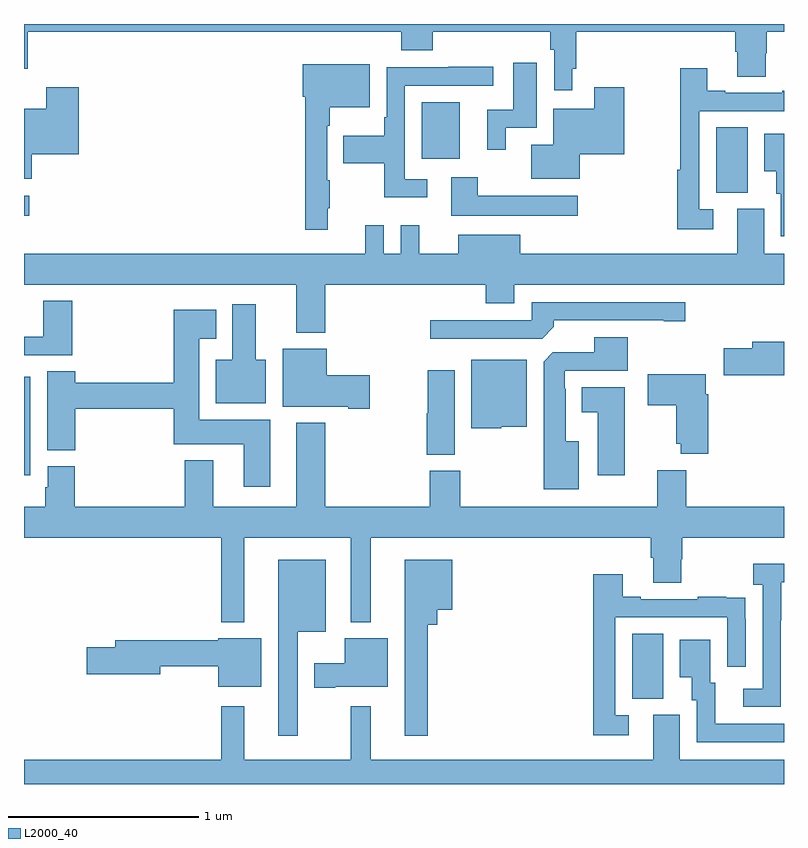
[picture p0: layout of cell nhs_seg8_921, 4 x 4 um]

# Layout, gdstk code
import gdstk
lib = gdstk.Library(unit=1e-6, precision=1e-09)
def R(c, l, rs):  # rectangles x0, y0, x1, y1
    for r in rs: c.add(gdstk.rectangle(r[:2], r[2:], *l))
def P(c, l, *ps):  # polygons
    for p in ps: c.add(gdstk.Polygon(p, *l))
L2000_40 = (2000, 40)

nhs_seg8_921 = lib.new_cell('nhs_seg8_921')
R(nhs_seg8_921, L2000_40, [(174.2,1086.349,174.364,1086.692), (171,1087.524,171.034,1088.044), (171,1088.891,171.028,1088.995), (174.644,1089.013,174.808,1089.356), (173.093,1089.191,173.293,1089.487)])
P(nhs_seg8_921, L2000_40, [(171,1089.664),(171.02,1089.664),(171.02,1089.86),(172.985,1089.86),(172.985,1089.761),(173.15,1089.761),(173.15,1089.86),(173.77,1089.86),(173.77,1089.764),(173.79,1089.764),(173.79,1089.552),(173.886,1089.552),(173.886,1089.664),(173.906,1089.664),(173.906,1089.86),(174.743,1089.86),(174.743,1089.754),(174.755,1089.754),(174.755,1089.622),(174.903,1089.622),(174.903,1089.747),(174.908,1089.747),(174.908,1089.86),(175,1089.86),(175,1089.9),(171,1089.9)],
  [(173.536,1089.354),(173.698,1089.354),(173.698,1089.697),(173.576,1089.697),(173.576,1089.45),(173.438,1089.45),(173.438,1089.237),(173.536,1089.237)],
  [(172.598,1088.929),(172.609,1088.929),(172.609,1089.077),(172.596,1089.077),(172.596,1089.365),(172.609,1089.365),(172.609,1089.461),(172.819,1089.461),(172.819,1089.688),(172.466,1089.688),(172.466,1089.518),(172.48,1089.518),(172.48,1088.817),(172.598,1088.817)],
  [(173.122,1089.084),(173.004,1089.084),(173.004,1089.576),(173.47,1089.576),(173.47,1089.674),(173.233,1089.674),(173.233,1089.672),(172.908,1089.672),(172.908,1089.409),(172.896,1089.409),(172.896,1089.313),(172.681,1089.313),(172.681,1089.166),(172.896,1089.166),(172.896,1088.987),(173.122,1088.987)],
  [(174.628,1088.925),(174.555,1088.925),(174.555,1089.441),(175,1089.441),(175,1089.55),(174.991,1089.55),(174.991,1089.537),(174.691,1089.537),(174.691,1089.55),(174.595,1089.55),(174.595,1089.667),(174.454,1089.667),(174.454,1089.132),(174.439,1089.132),(174.439,1088.82),(174.628,1088.82)],
  [(171.04,1089.215),(171.287,1089.215),(171.287,1089.568),(171.116,1089.568),(171.116,1089.454),(171,1089.454),(171,1089.086),(171.04,1089.086)],
  [(173.926,1089.215),(174.16,1089.215),(174.16,1089.568),(174.002,1089.568),(174.002,1089.454),(173.786,1089.454),(173.786,1089.265),(173.669,1089.265),(173.669,1089.086),(173.926,1089.086)],
  [(175,1089.322),(174.896,1089.322),(174.896,1089.125),(174.959,1089.125),(174.959,1089.006),(174.984,1089.006),(174.984,1088.784),(175,1088.784)],
  [(173.914,1088.995),(173.389,1088.995),(173.389,1089.094),(173.249,1089.094),(173.249,1088.891),(173.914,1088.891)],
  [(172.586,1088.528),(173.429,1088.528),(173.429,1088.429),(173.581,1088.429),(173.581,1088.528),(175,1088.528),(175,1088.692),(174.895,1088.692),(174.895,1088.928),(174.755,1088.928),(174.755,1088.692),(173.611,1088.692),(173.611,1088.791),(173.285,1088.791),(173.285,1088.692),(173.081,1088.692),(173.081,1088.842),(172.983,1088.842),(172.983,1088.692),(172.893,1088.692),(172.893,1088.842),(172.796,1088.842),(172.796,1088.692),(171,1088.692),(171,1088.528),(172.433,1088.528),(172.433,1088.276),(172.586,1088.276)],
  [(171.254,1088.443),(171.101,1088.443),(171.101,1088.253),(171,1088.253),(171,1088.157),(171.254,1088.157)],
  [(173.789,1088.306),(173.789,1088.34),(174.368,1088.34),(174.368,1088.335),(174.481,1088.335),(174.481,1088.436),(173.673,1088.436),(173.673,1088.34),(173.139,1088.34),(173.139,1088.244),(173.727,1088.244)],
  [(172.273,1088.134),(172.219,1088.134),(172.219,1088.425),(172.097,1088.425),(172.097,1088.134),(172.01,1088.134),(172.01,1087.904),(172.273,1087.904)],
  [(172.297,1087.816),(171.922,1087.816),(171.922,1088.243),(172.012,1088.243),(172.012,1088.395),(171.788,1088.395),(171.788,1088.012),(171.269,1088.012),(171.269,1088.072),(171.122,1088.072),(171.122,1087.657),(171.269,1087.657),(171.269,1087.876),(171.788,1087.876),(171.788,1087.688),(172.157,1087.688),(172.157,1087.464),(172.297,1087.464)],
  [(173.92,1087.705),(173.851,1087.705),(173.851,1087.979),(173.847,1087.979),(173.847,1088.076),(174.178,1088.076),(174.178,1088.251),(174.002,1088.251),(174.002,1088.172),(173.784,1088.172),(173.735,1088.123),(173.735,1087.451),(173.92,1087.451)],
  [(175,1088.227),(174.833,1088.227),(174.833,1088.193),(174.684,1088.193),(174.684,1088.051),(175,1088.051)],
  [(172.819,1088.052),(172.594,1088.052),(172.594,1088.191),(172.361,1088.191),(172.361,1087.886),(172.706,1087.886),(172.706,1087.874),(172.819,1087.874)],
  [(173.511,1087.781),(173.647,1087.781),(173.647,1088.134),(173.354,1088.134),(173.354,1087.772),(173.511,1087.772)],
  [(173.266,1088.077),(173.125,1088.077),(173.125,1087.851),(173.12,1087.851),(173.12,1087.633),(173.266,1087.633)],
  [(174.602,1087.952),(174.589,1087.952),(174.589,1088.056),(174.282,1088.056),(174.282,1087.894),(174.434,1087.894),(174.434,1087.691),(174.457,1087.691),(174.457,1087.637),(174.602,1087.637)],
  [(174.163,1087.987),(173.936,1087.987),(173.936,1087.856),(174.02,1087.856),(174.02,1087.524),(174.163,1087.524)],
  [(172.159,1087.196),(172.721,1087.196),(172.721,1086.752),(172.825,1086.752),(172.825,1087.196),(174.299,1087.196),(174.299,1087.09),(174.311,1087.09),(174.311,1086.958),(174.459,1086.958),(174.459,1087.083),(174.464,1087.083),(174.464,1087.196),(175,1087.196),(175,1087.36),(174.485,1087.36),(174.485,1087.552),(174.332,1087.552),(174.332,1087.36),(173.295,1087.36),(173.295,1087.548),(173.135,1087.548),(173.135,1087.36),(172.586,1087.36),(172.586,1087.801),(172.433,1087.801),(172.433,1087.36),(171.997,1087.36),(171.997,1087.603),(171.845,1087.603),(171.845,1087.36),(171.266,1087.36),(171.266,1087.572),(171.125,1087.572),(171.125,1087.461),(171.113,1087.461),(171.113,1087.36),(171,1087.36),(171,1087.196),(172.038,1087.196),(172.038,1086.752),(172.159,1086.752)],
  [(172.441,1086.701),(172.588,1086.701),(172.588,1087.081),(172.337,1087.081),(172.337,1086.153),(172.441,1086.153)],
  [(173.125,1086.737),(173.174,1086.737),(173.174,1086.818),(173.254,1086.818),(173.254,1087.081),(173.003,1087.081),(173.003,1086.153),(173.125,1086.153)],
  [(174.984,1086.763),(174.985,1086.763),(174.985,1086.963),(175,1086.963),(175,1087.06),(174.837,1087.06),(174.837,1086.95),(174.888,1086.95),(174.888,1086.402),(174.786,1086.402),(174.786,1086.306),(174.984,1086.306)],
  [(174.184,1086.261),(174.111,1086.261),(174.111,1086.777),(174.702,1086.777),(174.702,1086.516),(174.798,1086.516),(174.798,1086.77),(174.797,1086.77),(174.797,1086.879),(174.695,1086.879),(174.695,1086.886),(174.547,1086.886),(174.547,1086.873),(174.247,1086.873),(174.247,1086.886),(174.151,1086.886),(174.151,1087.003),(173.995,1087.003),(173.995,1086.156),(174.184,1086.156)],
  [(172.639,1086.413),(172.915,1086.413),(172.915,1086.667),(172.688,1086.667),(172.688,1086.535),(172.527,1086.535),(172.527,1086.406),(172.639,1086.406)],
  [(172.249,1086.667),(172.022,1086.667),(172.022,1086.656),(171.479,1086.656),(171.479,1086.62),(171.33,1086.62),(171.33,1086.478),(171.718,1086.478),(171.718,1086.52),(172.022,1086.52),(172.022,1086.413),(172.249,1086.413)],
  [(175,1086.216),(174.637,1086.216),(174.637,1086.432),(174.613,1086.432),(174.613,1086.658),(174.452,1086.658),(174.452,1086.461),(174.515,1086.461),(174.515,1086.342),(174.54,1086.342),(174.54,1086.12),(175,1086.12)],
  [(175,1086.028),(174.451,1086.028),(174.451,1086.264),(174.311,1086.264),(174.311,1086.028),(172.825,1086.028),(172.825,1086.31),(172.719,1086.31),(172.719,1086.028),(172.159,1086.028),(172.159,1086.31),(172.038,1086.31),(172.038,1086.028),(171,1086.028),(171,1085.9),(175,1085.9)])

lib.write_gds('nhs_seg8_921.gds')
